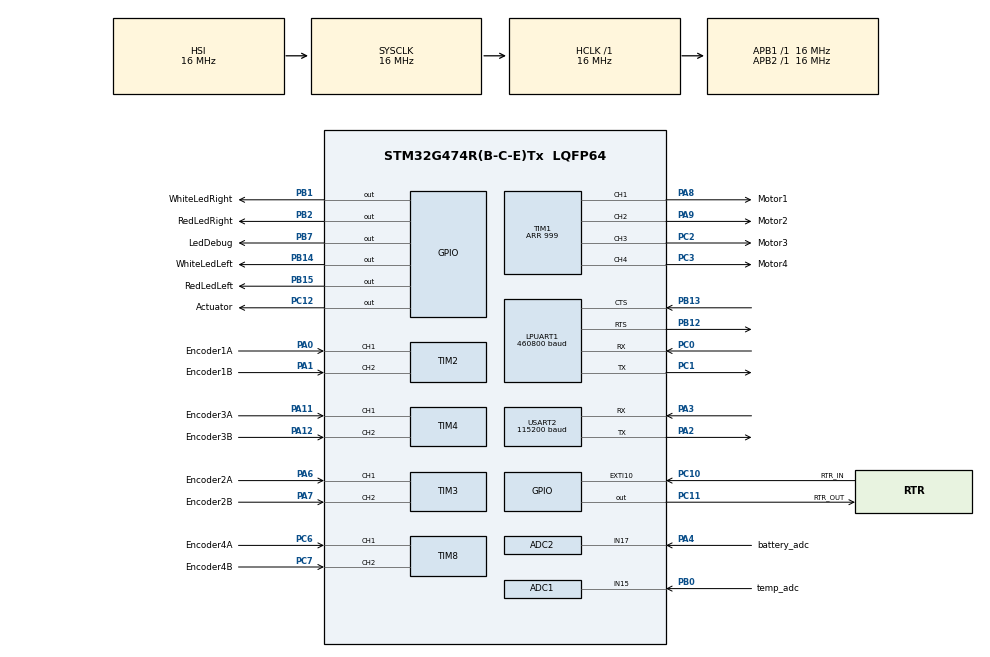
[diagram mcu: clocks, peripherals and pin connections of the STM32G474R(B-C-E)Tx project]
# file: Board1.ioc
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ADC1.Channel-0\#ChannelRegularConversion=ADC_CHANNEL_15
ADC1.NbrOfConversionFlag=1
ADC1.OffsetNumber-0\#ChannelRegularConversion=ADC_OFFSET_NONE
ADC1.Rank-0\#ChannelRegularConversion=1
ADC1.SamplingTime-0\#ChannelRegularConversion=ADC_SAMPLETIME_24CYCLES_5
ADC1.master=1
ADC2.Channel-0\#ChannelRegularConversion=ADC_CHANNEL_17
ADC2.NbrOfConversionFlag=1
ADC2.OffsetNumber-0\#ChannelRegularConversion=ADC_OFFSET_NONE
ADC2.Rank-0\#ChannelRegularConversion=1
ADC2.SamplingTime-0\#ChannelRegularConversion=ADC_SAMPLETIME_24CYCLES_5
FREERTOS.Events01=flagsOS,Static,flagsOSControlBlock
FREERTOS.Tasks01=PID,40,1024,StartPID,Default,NULL,Static,PIDBuffer,PIDControlBlock;Supervisor,32,2048,StartSupervisor,Default,NULL,Static,SupervisorBuffer,SupervisorControlBlock;ReadTemperature,24,1024,StartReadTemperature,Default,NULL,Static,ReadTemperatureBuffer,ReadTemperatureControlBlock;ReadBattery,8,1024,StartReadBattery,Default,NULL,Static,ReadBatteryBuffer,ReadBatteryControlBlock;StartSegger,47,128,StartSeggerTask,Default,NULL,Static,StartSeggerBuffer,StartSeggerControlBlock;Synchronization,46,128,StartSynchronization,Default,NULL,Static,SynchronizationBuffer,SynchronizationControlBlock
FREERTOS.Timers01=toggleLeftRedLed,callbackToggleLeftRedLed,osTimerPeriodic,Default,NULL,Static,toggleLeftRedLedControlBlock;toggleRightRedLed,callbackToggleRightRedLed,osTimerPeriodic,Default,NULL,Static,toggleRightRedLedControlBlock
FREERTOS.configCHECK_FOR_STACK_OVERFLOW=0
FREERTOS.configGENERATE_RUN_TIME_STATS=0
FREERTOS.configUSE_NEWLIB_REENTRANT=1
FREERTOS.configUSE_STATS_FORMATTING_FUNCTIONS=0
LPUART1.BaudRate=460800
Mcu.Family=STM32G4
Mcu.Name=STM32G474R(B-C-E)Tx
Mcu.Package=LQFP64
NVIC.EXTI15_10_IRQn=true\:5\:0\:false\:false\:true\:true\:true\:true\:true
NVIC.LPUART1_IRQn=true\:5\:0\:true\:false\:true\:true\:true\:true\:true
NVIC.PriorityGroup=NVIC_PRIORITYGROUP_4
NVIC.TIM6_DAC_IRQn=true\:0\:0\:false\:false\:true\:false\:false\:true\:true
NVIC.TIM7_DAC_IRQn=true\:5\:0\:false\:false\:true\:true\:true\:true\:true
NVIC.TimeBase=TIM6_DAC_IRQn
NVIC.TimeBaseIP=TIM6
PA0.GPIO_Label=Encoder1A
PA0.Signal=S_TIM2_CH1
PA1.GPIO_Label=Encoder1B
PA1.Signal=S_TIM2_CH2
PA11.GPIO_Label=Encoder3A
PA11.Signal=S_TIM4_CH1
PA12.GPIO_Label=Encoder3B
PA12.Signal=S_TIM4_CH2
PA2.Mode=Asynchronous
PA2.Signal=USART2_TX
PA3.Mode=Asynchronous
PA3.Signal=USART2_RX
PA4.GPIO_Label=battery_adc
PA4.Mode=IN17-Single-Ended
PA4.Signal=ADC2_IN17
PA6.GPIO_Label=Encoder2A
PA6.Signal=S_TIM3_CH1
PA7.GPIO_Label=Encoder2B
PA7.Signal=S_TIM3_CH2
PA8.GPIO_Label=Motor1
PA8.Signal=S_TIM1_CH1
PA9.GPIO_Label=Motor2
PA9.Signal=S_TIM1_CH2
PB0.GPIO_Label=temp_adc
PB0.Mode=IN15-Single-Ended
PB0.Signal=ADC1_IN15
PB1.GPIO_Label=WhiteLedRight
PB1.Signal=GPIO_Output
PB12.Mode=CTS_RTS
PB12.Signal=LPUART1_RTS
PB13.Mode=CTS_RTS
PB13.Signal=LPUART1_CTS
PB14.GPIO_Label=WhiteLedLeft
PB14.Signal=GPIO_Output
PB15.GPIO_Label=RedLedLeft
PB15.Signal=GPIO_Output
PB2.GPIO_Label=RedLedRight
PB2.Signal=GPIO_Output
PB7.GPIO_Label=LedDebug
PB7.Signal=GPIO_Output
PC0.GPIO_PuPd=GPIO_PULLUP
PC0.Mode=Asynchronous
PC0.Signal=LPUART1_RX
PC1.Mode=Asynchronous
PC1.Signal=LPUART1_TX
PC10.GPIO_Label=RTR_IN
PC10.GPIO_ModeDefaultEXTI=GPIO_MODE_IT_RISING
PC10.GPIO_PuPd=GPIO_PULLDOWN
PC10.Signal=GPXTI10
PC11.GPIO_Label=RTR_OUT
PC11.Signal=GPIO_Output
PC12.GPIO_Label=Actuator
PC12.PinState=GPIO_PIN_SET
PC12.Signal=GPIO_Output
PC2.GPIO_Label=Motor3
PC2.Signal=S_TIM1_CH3
PC3.GPIO_Label=Motor4
PC3.Signal=S_TIM1_CH4
PC6.GPIO_Label=Encoder4A
PC6.Signal=S_TIM8_CH1
PC7.GPIO_Label=Encoder4B
PC7.Signal=S_TIM8_CH2
ProjectManager.HeapSize=0x200
ProjectManager.StackSize=0x400
ProjectManager.TargetToolchain=STM32CubeIDE
RCC.AHBFreq_Value=16000000
RCC.APB1Freq_Value=16000000
RCC.APB1TimFreq_Value=16000000
RCC.APB2Freq_Value=16000000
RCC.APB2TimFreq_Value=16000000
RCC.CortexFreq_Value=16000000
RCC.EXTERNAL_CLOCK_VALUE=12288000
RCC.HCLKFreq_Value=16000000
RCC.HSE_VALUE=8000000
RCC.HSI48_VALUE=48000000
RCC.HSI_VALUE=16000000
RCC.LSE_VALUE=32768
RCC.SYSCLKFreq_VALUE=16000000
RCC.USBFreq_Value=64000000
RCC.VCOOutputFreq_Value=128000000
SH.S_TIM1_CH1.0=TIM1_CH1,PWM Generation1 CH1
SH.S_TIM1_CH2.0=TIM1_CH2,PWM Generation2 CH2
SH.S_TIM1_CH3.0=TIM1_CH3,PWM Generation3 CH3
SH.S_TIM1_CH4.0=TIM1_CH4,PWM Generation4 CH4
SH.S_TIM2_CH1.0=TIM2_CH1,Encoder_Interface
SH.S_TIM2_CH2.0=TIM2_CH2,Encoder_Interface
SH.S_TIM3_CH1.0=TIM3_CH1,Encoder_Interface
SH.S_TIM3_CH2.0=TIM3_CH2,Encoder_Interface
SH.S_TIM4_CH1.0=TIM4_CH1,Encoder_Interface
SH.S_TIM4_CH2.0=TIM4_CH2,Encoder_Interface
SH.S_TIM8_CH1.0=TIM8_CH1,Encoder_Interface
SH.S_TIM8_CH2.0=TIM8_CH2,Encoder_Interface
TIM1.Channel-PWM\ Generation1\ CH1=TIM_CHANNEL_1
TIM1.Channel-PWM\ Generation2\ CH2=TIM_CHANNEL_2
TIM1.Channel-PWM\ Generation3\ CH3=TIM_CHANNEL_3
TIM1.Channel-PWM\ Generation4\ CH4=TIM_CHANNEL_4
TIM1.PeriodNoDither=999
TIM1.PulseNoDither_1=757
TIM1.PulseNoDither_2=757
TIM1.PulseNoDither_3=757
TIM1.PulseNoDither_4=757
TIM2.EncoderMode=TIM_ENCODERMODE_TI12
TIM2.IC1Filter=5
TIM2.IC2Filter=5
TIM3.EncoderMode=TIM_ENCODERMODE_TI12
TIM3.IC1Filter=5
TIM3.IC2Filter=5
TIM4.EncoderMode=TIM_ENCODERMODE_TI12
TIM4.IC1Filter=5
TIM4.IC2Filter=5
TIM7.PeriodNoDither=0
TIM7.Prescaler=65535
TIM8.EncoderMode=TIM_ENCODERMODE_TI12
TIM8.IC1Filter=5
TIM8.IC2Filter=5
USART2.BaudRate=115200
USART2.VirtualMode-Asynchronous=VM_ASYNC
VP_CRC_VS_CRC.Mode=CRC_Activate
VP_FREERTOS_VS_CMSIS_V2.Mode=CMSIS_V2
VP_SYS_VS_DBSignals.Mode=DisableDeadBatterySignals
VP_SYS_VS_tim6.Mode=TIM6
VP_TIM7_VS_ClockSourceINT.Mode=Enable_Timer
board=custom

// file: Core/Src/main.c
/* USER CODE BEGIN Header */
/**
 ******************************************************************************
 * @file           : main.c
 * @brief          : Main program body
 ******************************************************************************
 * @attention
 *
 * Copyright (c) 2025 STMicroelectronics.
 * All rights reserved.
 *
 * This software is licensed under terms that can be found in the LICENSE file
 * in the root directory of this software component.
 * If no LICENSE file comes with this software, it is provided AS-IS.
 *
 ******************************************************************************
 */
/* USER CODE END Header */
#include "main.h"
#include "cmsis_os.h"
#include "adc.h"
#include "crc.h"
#include "usart.h"
#include "tim.h"
#include "gpio.h"

/* USER CODE BEGIN Includes */

/* UART Handler for communication inter board */
#include "uart_functions.h"

/* Simulink Model */
#include "Board1.h"

/* Drivers */
#include "lights_init.h"     // #include "a4wd3_led.h"
#include "encoders_init.h"   // #include "encoders.h"
#include "motors_init.h"
/*
 #include "motors_control.h"
 #include "motor_constants.h"
 #include "regulator.h"
 */
#include "battery_init.h"        // #include "batt_level.h"
#include "temperature_init.h"    //#include "temperature_adc.h"
#include "timer.h"

/* Utility */
#include "DWT.h"
#include "print.h"
#include "debug.h"
#include "phase.h"

/* USER CODE END Includes */

/* USER CODE BEGIN PD */

#define TIM7_IN_FREQUENCY (16000000) /* 16 MHz */

/* --- DEBUG CONFIGURATIONS --- */

#if VERBOSE_DEBUG_MAIN == 1
#define PRINT_DBG(msg) printMsg(msg)
#else
	#define PRINT_DBG(msg) ((void)0)
#endif
/* ---------------------------- */
/* USER CODE END PD */

/* USER CODE BEGIN PV */

volatile system_phase_t system_phase = SYNCHRONIZATION_PHASE;

timer_t timerSupervisor;

/* USER CODE END PV */

void SystemClock_Config(void);
void MX_FREERTOS_Init(void);

int main(void)
{

  /* MCU Configuration--------------------------------------------------------*/

  /* Reset of all peripherals, Initializes the Flash interface and the Systick. */
  HAL_Init();

  /* Configure the system clock */
  SystemClock_Config();

  /* Initialize all configured peripherals */
  MX_GPIO_Init();
  MX_LPUART1_UART_Init();
  MX_USART2_UART_Init();
  MX_CRC_Init();
  MX_TIM2_Init();
  MX_TIM3_Init();
  MX_TIM4_Init();
  MX_TIM8_Init();
  MX_ADC2_Init();
  MX_ADC1_Init();
  MX_TIM1_Init();
  MX_TIM7_Init();
  /* USER CODE BEGIN 2 */

	/* Init DWT for WCET measurement */

	DWT_Init();

	/* Set UART Handlers */

	setComunicationHandler(&hlpuart1);

	setPrinterHandler(&huart2);

#if VERBOSE_DEBUG_MAIN

	clearScreen();

#endif

	PRINT_DBG("BEGIN B1 INIT...\r\n\n\n");

	/* Init Simulink Model with default values */
	Board1_initialize();
	Board1_U.speed = (BUS_Speed ) { 0.0f, 0.0f, 0.0f, 0.0f };
	Board1_U.batteryLevel = 0;
	Board1_U.temperature = 0.0f;
	Board1_U.areSensorsValid = 0;
	Board1_U.timeoutOccurred = 0;

	/* Init drivers */

	led_init();

	Encoders_InitAll();
	Encoders_StartAll();

	Motors_InitAll();
	Motors_StartAllPwm();
	Motors_SetDefaultCcr(757);

	temperature_sensor_init();
	battery_sensor_init();

	if (timer_init(&timerSupervisor, &htim7, TIM7_IN_FREQUENCY) != TIMER_OK) {
		return -1;
	}

	for (int i = 0; i < N_MOTORS; i++){
		MotorControl_SetReferenceRPM(&motors[i], 0.0f);
		MotorControl_OpenLoopActuate(&motors[i]);
	}
//	/* TESTING OPEN LOOP CONTROL */
//	float set_point = -30.0f;
//
//	while(1){
//		// for sui motori
//		for (int i = 0; i < N_MOTORS; i++){
//			MotorControl_SetReferenceRPM(&motors[i], set_point);
//			MotorControl_OpenLoopActuate(&motors[i]);
//
//			// lo faccio per 10 volte
//			for (int j = 0; j < 10; j++){
//				float speed = Encoder_GetSpeedRPM(&encoders[i]);
//				printFloat(speed, 2);
//				HAL_Delay(200);
//			}
//		}
//	}

  /* USER CODE END 2 */

  /* Init scheduler */
  osKernelInitialize();  /* Call init function for freertos objects (in cmsis_os2.c) */
  MX_FREERTOS_Init();

  /* Start scheduler */
  osKernelStart();

  /* We should never get here as control is now taken by the scheduler */

  /* Infinite loop */
	while (1) {

	}
}

void SystemClock_Config(void)
{
  RCC_OscInitTypeDef RCC_OscInitStruct = {0};
  RCC_ClkInitTypeDef RCC_ClkInitStruct = {0};

  /** Configure the main internal regulator output voltage
  */
  HAL_PWREx_ControlVoltageScaling(PWR_REGULATOR_VOLTAGE_SCALE1);

  /** Initializes the RCC Oscillators according to the specified parameters
  * in the RCC_OscInitTypeDef structure.
  */
  RCC_OscInitStruct.OscillatorType = RCC_OSCILLATORTYPE_HSI;
  RCC_OscInitStruct.HSIState = RCC_HSI_ON;
  RCC_OscInitStruct.HSICalibrationValue = RCC_HSICALIBRATION_DEFAULT;
  RCC_OscInitStruct.PLL.PLLState = RCC_PLL_NONE;
  if (HAL_RCC_OscConfig(&RCC_OscInitStruct) != HAL_OK)
  {
    Error_Handler();
  }

  /** Initializes the CPU, AHB and APB buses clocks
  */
  RCC_ClkInitStruct.ClockType = RCC_CLOCKTYPE_HCLK|RCC_CLOCKTYPE_SYSCLK
                              |RCC_CLOCKTYPE_PCLK1|RCC_CLOCKTYPE_PCLK2;
  RCC_ClkInitStruct.SYSCLKSource = RCC_SYSCLKSOURCE_HSI;
  RCC_ClkInitStruct.AHBCLKDivider = RCC_SYSCLK_DIV1;
  RCC_ClkInitStruct.APB1CLKDivider = RCC_HCLK_DIV1;
  RCC_ClkInitStruct.APB2CLKDivider = RCC_HCLK_DIV1;

  if (HAL_RCC_ClockConfig(&RCC_ClkInitStruct, FLASH_LATENCY_0) != HAL_OK)
  {
    Error_Handler();
  }
}

void HAL_TIM_PeriodElapsedCallback(TIM_HandleTypeDef *htim)
{
  if (htim->Instance == TIM6)
  {
    HAL_IncTick();
  }
  /* USER CODE BEGIN Callback 1 */
	if (htim->Instance == TIM7) {
		static uint8_t first_time = 0;

		if (first_time == 0) {
			first_time = 1;
			return;
		} else {
			timer_period_elapsed(&timerSupervisor, htim);
			Board1_U.timeoutOccurred++;
			timer_reset(&timerSupervisor);
#if VERBOSE_DEBUG_IT == 1
			printMsg("SupervisorB1 WCET exceeded!\n\n");
#endif
		}
	}
  /* USER CODE END Callback 1 */
}

void Error_Handler(void)
{
	__disable_irq();
	while (1) {
	}
}

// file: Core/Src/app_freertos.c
/* USER CODE BEGIN Header */
/**
 ******************************************************************************
 * File Name          : app_freertos.c
 * Description        : Code for freertos applications
 ******************************************************************************
 * @attention
 *
 * Copyright (c) 2026 STMicroelectronics.
 * All rights reserved.
 *
 * This software is licensed under terms that can be found in the LICENSE file
 * in the root directory of this software component.
 * If no LICENSE file comes with this software, it is provided AS-IS.
 *
 ******************************************************************************
 */
/* USER CODE END Header */

#include "FreeRTOS.h"
#include "task.h"
#include "main.h"
#include "cmsis_os.h"

/* USER CODE BEGIN Includes */

/* OS */
#include "scheduling_constants.h"
#include "event_flags_constant.h"
#include "sync_start.h"
#include "freeRTOS_functions.h"

/* Simulink Model */
#include "Board1.h"

/* Drivers */
#include "lights_init.h"     // #include "a4wd3_led.h"
#include "encoders_init.h"   // #include "encoders.h"
#include "motors_init.h"
/*
#include "motors_control.h"
#include "motor_constants.h"
#include "regulator.h"
*/
#include "battery_init.h"        // #include "batt_level.h"
#include "temperature_init.h"    //#include "temperature_adc.h"
#include "timer.h"

/* Utility */
#include "DWT.h"
#include "print.h"
#include "debug.h"
#include "phase.h"

/* USER CODE END Includes */

typedef StaticTask_t osStaticThreadDef_t;
typedef StaticTimer_t osStaticTimerDef_t;
typedef StaticEventGroup_t osStaticEventGroupDef_t;

/* USER CODE BEGIN PD */

#if SEGGER_BUILD
#include "SEGGER_SYSVIEW_FreeRTOS.h"
#endif

/* USER CODE END PD */

/* USER CODE BEGIN Variables */

/* Global start tick (set after synchronization) */
volatile uint32_t start_tick = 0;

/* MISS COUNTERS */
volatile uint32_t MissPID = 0;
volatile uint32_t MissSupervisor = 0;
volatile uint32_t MissReadTemperature = 0;
volatile uint32_t MissReadBattery = 0;

/* STATUS FLAGS */
uint8_t encoder_read_failed = 0;
uint8_t temperature_read_failed = 0;
uint8_t battery_read_failed = 0;

/* Timer Handler from main.c */
extern timer_t timerSupervisor;

/* USER CODE END Variables */
/* Definitions for PID */
osThreadId_t PIDHandle;
uint32_t PIDBuffer[ 1024 ];
osStaticThreadDef_t PIDControlBlock;
const osThreadAttr_t PID_attributes = {
  .name = "PID",
  .stack_mem = &PIDBuffer[0],
  .stack_size = sizeof(PIDBuffer),
  .cb_mem = &PIDControlBlock,
  .cb_size = sizeof(PIDControlBlock),
  .priority = (osPriority_t) osPriorityHigh,
};
/* Definitions for Supervisor */
osThreadId_t SupervisorHandle;
uint32_t SupervisorBuffer[ 2048 ];
osStaticThreadDef_t SupervisorControlBlock;
const osThreadAttr_t Supervisor_attributes = {
  .name = "Supervisor",
  .stack_mem = &SupervisorBuffer[0],
  .stack_size = sizeof(SupervisorBuffer),
  .cb_mem = &SupervisorControlBlock,
  .cb_size = sizeof(SupervisorControlBlock),
  .priority = (osPriority_t) osPriorityAboveNormal,
};
/* Definitions for ReadTemperature */
osThreadId_t ReadTemperatureHandle;
uint32_t ReadTemperatureBuffer[ 1024 ];
osStaticThreadDef_t ReadTemperatureControlBlock;
const osThreadAttr_t ReadTemperature_attributes = {
  .name = "ReadTemperature",
  .stack_mem = &ReadTemperatureBuffer[0],
  .stack_size = sizeof(ReadTemperatureBuffer),
  .cb_mem = &ReadTemperatureControlBlock,
  .cb_size = sizeof(ReadTemperatureControlBlock),
  .priority = (osPriority_t) osPriorityNormal,
};
/* Definitions for ReadBattery */
osThreadId_t ReadBatteryHandle;
uint32_t ReadBatteryBuffer[ 1024 ];
osStaticThreadDef_t ReadBatteryControlBlock;
const osThreadAttr_t ReadBattery_attributes = {
  .name = "ReadBattery",
  .stack_mem = &ReadBatteryBuffer[0],
  .stack_size = sizeof(ReadBatteryBuffer),
  .cb_mem = &ReadBatteryControlBlock,
  .cb_size = sizeof(ReadBatteryControlBlock),
  .priority = (osPriority_t) osPriorityLow,
};
/* Definitions for StartSegger */
osThreadId_t StartSeggerHandle;
uint32_t StartSeggerBuffer[ 128 ];
osStaticThreadDef_t StartSeggerControlBlock;
const osThreadAttr_t StartSegger_attributes = {
  .name = "StartSegger",
  .stack_mem = &StartSeggerBuffer[0],
  .stack_size = sizeof(StartSeggerBuffer),
  .cb_mem = &StartSeggerControlBlock,
  .cb_size = sizeof(StartSeggerControlBlock),
  .priority = (osPriority_t) osPriorityHigh7,
};
/* Definitions for Synchronization */
osThreadId_t SynchronizationHandle;
uint32_t SynchronizationBuffer[ 128 ];
osStaticThreadDef_t SynchronizationControlBlock;
const osThreadAttr_t Synchronization_attributes = {
  .name = "Synchronization",
  .stack_mem = &SynchronizationBuffer[0],
  .stack_size = sizeof(SynchronizationBuffer),
  .cb_mem = &SynchronizationControlBlock,
  .cb_size = sizeof(SynchronizationControlBlock),
  .priority = (osPriority_t) osPriorityHigh6,
};
/* Definitions for toggleLeftRedLed */
osTimerId_t toggleLeftRedLedHandle;
osStaticTimerDef_t toggleLeftRedLedControlBlock;
const osTimerAttr_t toggleLeftRedLed_attributes = {
  .name = "toggleLeftRedLed",
  .cb_mem = &toggleLeftRedLedControlBlock,
  .cb_size = sizeof(toggleLeftRedLedControlBlock),
};
/* Definitions for toggleRightRedLed */
osTimerId_t toggleRightRedLedHandle;
osStaticTimerDef_t toggleRightRedLedControlBlock;
const osTimerAttr_t toggleRightRedLed_attributes = {
  .name = "toggleRightRedLed",
  .cb_mem = &toggleRightRedLedControlBlock,
  .cb_size = sizeof(toggleRightRedLedControlBlock),
};
/* Definitions for flagsOS */
osEventFlagsId_t flagsOSHandle;
osStaticEventGroupDef_t flagsOSControlBlock;
const osEventFlagsAttr_t flagsOS_attributes = {
  .name = "flagsOS",
  .cb_mem = &flagsOSControlBlock,
  .cb_size = sizeof(flagsOSControlBlock),
};

/* USER CODE BEGIN FunctionPrototypes */

/* SCHEDULING FUNCTIONS */

static uint32_t ms_to_ticks(uint32_t ms);
static void periodic_wait(uint32_t *next_release, uint32_t period_ticks,
		volatile uint32_t *miss_counter);

/* DECISION FUNCTIONS */
static inline void actuate_white_leds(void);
static inline void change_set_point(void);
static inline void change_regulator(void);

/* USER CODE END FunctionPrototypes */

void StartPID(void *argument);
void StartSupervisor(void *argument);
void StartReadTemperature(void *argument);
void StartReadBattery(void *argument);
void StartSeggerTask(void *argument);
void StartSynchronization(void *argument);
void callbackToggleLeftRedLed(void *argument);
void callbackToggleRightRedLed(void *argument);

void MX_FREERTOS_Init(void); /* (MISRA C 2004 rule 8.1) */

void MX_FREERTOS_Init(void) {

  /* Create the timer(s) */
  /* creation of toggleLeftRedLed */
  toggleLeftRedLedHandle = osTimerNew(callbackToggleLeftRedLed, osTimerPeriodic, NULL, &toggleLeftRedLed_attributes);

  /* creation of toggleRightRedLed */
  toggleRightRedLedHandle = osTimerNew(callbackToggleRightRedLed, osTimerPeriodic, NULL, &toggleRightRedLed_attributes);

  /* USER CODE BEGIN RTOS_TIMERS */
	timer_set_period(&timerSupervisor, WCET_SUPERVISOR);
  /* USER CODE END RTOS_TIMERS */

  /* Create the thread(s) */
  /* creation of PID */
  PIDHandle = osThreadNew(StartPID, NULL, &PID_attributes);

  /* creation of Supervisor */
  SupervisorHandle = osThreadNew(StartSupervisor, NULL, &Supervisor_attributes);

  /* creation of ReadTemperature */
  ReadTemperatureHandle = osThreadNew(StartReadTemperature, NULL, &ReadTemperature_attributes);

  /* creation of ReadBattery */
  ReadBatteryHandle = osThreadNew(StartReadBattery, NULL, &ReadBattery_attributes);

  /* creation of StartSegger */
  StartSeggerHandle = osThreadNew(StartSeggerTask, NULL, &StartSegger_attributes);

  /* creation of Synchronization */
  SynchronizationHandle = osThreadNew(StartSynchronization, NULL, &Synchronization_attributes);

  /* Create the event(s) */
  /* creation of flagsOS */
  flagsOSHandle = osEventFlagsNew(&flagsOS_attributes);

  /* USER CODE BEGIN RTOS_EVENTS */
	Sync_Init(flagsOSHandle,
				RTR_IN_GPIO_Port, RTR_IN_Pin,
	            RTR_OUT_GPIO_Port, RTR_OUT_Pin,
	            FLAG_START, FLAG_SYNC, FLAG_ACK);
  /* USER CODE END RTOS_EVENTS */

}

void StartPID(void *argument)
{
  /* USER CODE BEGIN StartPID */
#if RUN_PID

	Sync_WaitStart();

	const uint32_t T = ms_to_ticks(T_PID);
	uint32_t next = start_tick;

	float current_speed[4] = { 0.0f, 0.0f, 0.0f, 0.0f };

	/* Infinite loop */
	for (;;) {

#if REAL_TASK

		/* READ ENCODERS AND UPDATE SPEEDS */
		for (int i = 0; i < 4; i++) {
			Encoder_Update(&encoders[i]);
			current_speed[i] = Encoder_GetSpeedRPM(&encoders[i]);
		}

		/* UPDATE SIMULINK MODEL */
		Board1_U.speed = (BUS_Speed ) { current_speed[0], current_speed[1],
						current_speed[2], current_speed[3] };

		/* EXECUTE MOTOR CONTROL */
		for (int i = 0; i < 4; i++) {
			MotorControl_ClosedLoop(&motors[i], current_speed[i]);
			//MotorControl_OpenLoopActuate(&motors[i]);
		}

#if PRINT_TASK
        //printMotorSpeeds(&Board1_U.speed);
#endif

#else
		Board1_U.speed = (BUS_Speed ) { current_speed[0], current_speed[1],
						current_speed[2], current_speed[3] };
        HAL_Delay(WCET_PID);
#endif

		periodic_wait(&next, T, &MissPID);
	}
#endif

	osThreadTerminate(osThreadGetId());

  /* USER CODE END StartPID */
}

void StartSupervisor(void *argument)
{
  /* USER CODE BEGIN StartSupervisor */
#if RUN_SUPERVISOR

	Sync_WaitStart();

	const uint32_t T = ms_to_ticks(T_SUPERVISOR);
	uint32_t next = start_tick;

	periodic_wait(&next, T, &MissSupervisor);  // Skip first communication

	/* Infinite loop */
	for (;;) {

		/* Convert singular errors into global flags for the Simulink model */
		uint8_t temp = 0;
		temp |= (encoder_read_failed & 0x01) << 0;
		temp |= (temperature_read_failed     & 0x01) << 1;
		temp |= (battery_read_failed        & 0x01) << 2;
		//Board1_U.areSensorsValid = temp;

		/* Clear previous error flags */
		encoder_read_failed = 0;
		temperature_read_failed = 0;
		battery_read_failed = 0;

		/* START TIMER FOR MONITORING WCET */
		if (Board1_U.batteryLevel <= 23) {
			Board1_U.batteryLevel = 40;
		}

		//timer_start(&timerSupervisor);

		do {
			Board1_step();
			//Board1_U.timeoutOccurred++;

		} while (Board1_Y.supervision_ended != 1);

		/* STOP TIMER FOR MONITORING WCET */
		//timer_reset(&timerSupervisor);

		/* FINALIZING DECISION */
		actuate_white_leds();
		change_set_point();
		change_regulator();

		/* BEGIN PRINT SECTION */
		static uint32_t cycle_count = 0;
		cycle_count++;

		//printMsg("Cycle Count B1: ");
		//printInt((int32_t)cycle_count);
		//printNewLine();

		//printMotorSpeeds(&Board1_U.speed);

		if (cycle_count >= 100) { // Approx 2 seconds (50ms * 40)
			cycle_count = 0;
			printGlobalState(&Board1_Y.board1GlobalState);
			printDecision(&Board1_Y.board1Decision);
		}

		/* END PRINT SECTION */

		if(Board1_Y.board1Decision.roverState == EMERGENCY ||
				Board1_Y.board1Decision.roverState == FAULTY_B1_DEGRADED_B2){
			break;
		}

		periodic_wait(&next, T, &MissSupervisor);

	}

#endif

	osThreadTerminate(osThreadGetId());

  /* USER CODE END StartSupervisor */
}

void StartReadTemperature(void *argument)
{
  /* USER CODE BEGIN StartReadTemperature */
#if RUN_READ_TEMPERATURE

	Sync_WaitStart();

	const uint32_t T = ms_to_ticks(T_TEMPERATURE);
	uint32_t next = start_tick;

	/* Infinite loop */
	for (;;) {

#if REAL_TASK

		float temp_val = 0.0f;
		if (temp_ky028_read_temperature(&temp_sensor, &temp_val) == 0) {
			Board1_U.temperature = (Temperature) temp_val;
			temperature_read_failed = 0;
		} else {
			Board1_U.temperature = -255.0f;
			temperature_read_failed = 1;
		}

#if PRINT_TASK
        printTemperature(Board1_U.temperature);
#endif

#else
        Board1_U.temperature = 32.3f;
        HAL_Delay(WCET_TEMPERATURE);
#endif

		periodic_wait(&next, T, &MissReadTemperature);
	}

#endif

	osThreadTerminate(osThreadGetId());

  /* USER CODE END StartReadTemperature */
}

void StartReadBattery(void *argument)
{
  /* USER CODE BEGIN StartReadBattery */
#if RUN_READ_BATTERY

	Sync_WaitStart();

	const uint32_t T = ms_to_ticks(T_BATTERY);
	uint32_t next = start_tick;

	/* Infinite loop */
	for (;;) {

#if REAL_TASK

		if (battery_get_percentage_linear(battery_read_voltage(&battery),
				MIN_VOLTAGE, MAX_VOLTAGE, &Board1_U.batteryLevel) == 0) {
			battery_read_failed = 0;
			// Board1_U.batteryLevel updated
		} else {
			Board1_U.batteryLevel = 255;
			battery_read_failed = 1;
		}

#if PRINT_TASK
        printBattery((float)Board1_U.batteryLevel);
#endif

#else
        Board1_U.batteryLevel = 32;
        HAL_Delay(WCET_BATTERY);
#endif

		periodic_wait(&next, T, &MissReadBattery);
	}

#endif

	osThreadTerminate(osThreadGetId());

  /* USER CODE END StartReadBattery */
}

void StartSeggerTask(void *argument)
{
  /* USER CODE BEGIN StartSeggerTask */
#if SEGGER_BUILD
	  SEGGER_SYSVIEW_Conf();
	  SEGGER_SYSVIEW_Start();
#endif
	/* Infinite loop */
	for (;;) {
		break;
	}
	osThreadTerminate(osThreadGetId());

  /* USER CODE END StartSeggerTask */
}

/* USER CODE BEGIN Header_StartSynchronization */
// This feature is extern to the library behavior
extern volatile system_phase_t system_phase;
/**
 * @brief Function implementing the Synchronization thread.
 * @param argument: Not used
 * @retval None
 */
/* USER CODE END Header_StartSynchronization */
void StartSynchronization(void *argument)
{
  /* USER CODE BEGIN StartSynchronization */
#if RUN_SYNCHRONIZATION

	system_phase = SYNCHRONIZATION_PHASE;

	SyncThread();

	/* Synchronization completed: define common time-base for periodic tasks */
	start_tick = osKernelGetTickCount();

	system_phase = WORKING_PHASE;

	HAL_GPIO_WritePin(RTR_OUT_GPIO_Port, RTR_OUT_Pin, GPIO_PIN_RESET);

	#if LED_DEBUG
	HAL_GPIO_WritePin(LedDebug_GPIO_Port, LedDebug_Pin, GPIO_PIN_SET);
	#endif

#endif

	// Termination, if clock drift is not critical
	osThreadTerminate(osThreadGetId());

  /* USER CODE END StartSynchronization */
}

/* callbackToggleLeftRedLed function */
void callbackToggleLeftRedLed(void *argument)
{
  /* USER CODE BEGIN callbackToggleLeftRedLed */
	A4WD3_Red_Toggle(&led_left);
  /* USER CODE END callbackToggleLeftRedLed */
}

/* callbackToggleRightRedLed function */
void callbackToggleRightRedLed(void *argument)
{
  /* USER CODE BEGIN callbackToggleRightRedLed */
	A4WD3_Red_Toggle(&led_right);
  /* USER CODE END callbackToggleRightRedLed */
}

/* USER CODE BEGIN Application */

/* SCHEDULING FUNCTIONS */

static uint32_t ms_to_ticks(uint32_t ms) {
	uint32_t hz = osKernelGetTickFreq();
	return (ms * hz + 999u) / 1000u;
}

static void periodic_wait(uint32_t *next_release, uint32_t period_ticks,
		volatile uint32_t *miss_counter) {
	uint32_t now = osKernelGetTickCount();

	/* Calcola il prossimo rilascio */
	*next_release += period_ticks;

	/* Controlla se il task ha sforato */
	if ((int32_t) (now - *next_release) > 0) {
		if (miss_counter != NULL) {
			(*miss_counter)++;
		}
	}

	/* Sleep assoluta fino al prossimo periodo */
	osDelayUntil(*next_release);
}

/* DECISION FUNCTIONS */

static inline void actuate_white_leds(void) {
	A4WD3_White_Set(&led_left, Board1_Y.board1Decision.leds.white.left);
	A4WD3_White_Set(&led_right, Board1_Y.board1Decision.leds.white.right);
}

static inline void change_set_point(void) {
	const float left = Board1_Y.board1Decision.setPoint.leftAxis;
	const float right = Board1_Y.board1Decision.setPoint.rightAxis;

	MotorControl_SetReferenceRPM(&motors[MOTOR_FRONT_LEFT], left);
	MotorControl_SetReferenceRPM(&motors[MOTOR_REAR_LEFT], left);

	MotorControl_SetReferenceRPM(&motors[MOTOR_FRONT_RIGHT], right);
	MotorControl_SetReferenceRPM(&motors[MOTOR_REAR_RIGHT], right);
}

static inline void change_regulator(void) {
	const uint8_t action = Board1_Y.board1Decision.roverAction;

	switch (action) {
	case RA_BRAKING_SMOOTH:
		for (int i = 0; i < N_MOTORS; i++) {
			MotorControl_SetRegulator(&motors[i], &pid_slow[i]);
		}
		break;

	case RA_BRAKING_MODERATE:
		for (int i = 0; i < N_MOTORS; i++) {
			MotorControl_SetRegulator(&motors[i], &pid_medium[i]);
		}
		break;

	default:
		for (int i = 0; i < N_MOTORS; i++) {
			MotorControl_SetRegulator(&motors[i], &pid_fast[i]);
		}
		break;
	}
}
/* USER CODE END Application */
